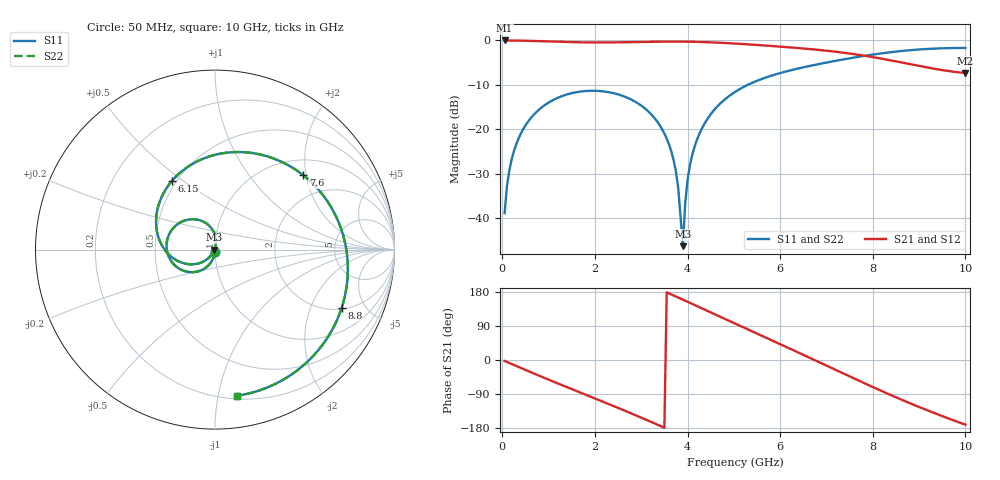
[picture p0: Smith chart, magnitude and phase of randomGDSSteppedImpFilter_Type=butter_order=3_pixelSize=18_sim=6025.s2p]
! freq	dB(S11)	phase(S11)	dB(S12)	phase(S12)
!  dB(S21)	phase(S21)	dB(S22)	phase(S22)
!S-par simulation data
#  GHz  S  DB  R 50
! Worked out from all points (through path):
!   200 points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, 50 MHz to 10 GHz, reference 50 ohm
!   highest |S21| = 0.00 dB at 50 MHz (marker M1); lowest = -7.3 dB at 10 GHz (marker M2)
!   group delay of S21, straight-line fit = 151 ps
!   lowest |S11| = -46.3 dB at 3.9 GHz (marker M3), VSWR 1.01, Z = 49.5 - j0.07 ohm
!   |S11| at or under -10 dB: start of sweep to 5.298 GHz
!   |S22| runs from -46.8 to -1.7 dB; largest |S21 - S12| = 0
!   S11 on the Smith chart (normalised r, x): 50 MHz: 1.00, -0.02; 6.15 GHz: 0.47, +0.45; 7.6 GHz: 1.36, +1.93; 8.8 GHz: 2.08, -3.39; 10 GHz: 0.22, -1.14
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0.05  -38.82 -92.4  -0.00 -2.6  -0.00 -2.6  -38.82 -92.4
0.1  -32.81 -95.2  -0.00 -5.3  -0.00 -5.3  -32.81 -95.2
0.2  -26.83 -100.5  -0.01 -10.5  -0.01 -10.5  -26.83 -100.5
0.5  -19.12 -116.4  -0.07 -26.2  -0.07 -26.2  -19.12 -116.4
1.15  -13.12 -149.9  -0.28 -59.4  -0.28 -59.4  -13.12 -149.9
1.75  -11.42 -179.8  -0.43 -89.1  -0.43 -89.1  -11.42 -179.8
2.55  -12.29 140.5  -0.42 -128.9  -0.42 -128.9  -12.29 140.5
3.4  -19.08 97.2  -0.27 -173.4  -0.27 -173.4  -19.08 97.0
3.75  -29.52 82.1  -0.26 167.5  -0.26 167.5  -29.53 81.4
3.9  -46.25 -171.6  -0.26 159.2  -0.26 159.2  -46.78 -169.6
3.95  -36.51 -127.7  -0.27 156.5  -0.27 156.5  -36.56 -126.0
4  -31.40 -124.4  -0.28 153.7  -0.28 153.7  -31.41 -123.4
4.15  -23.95 -128.6  -0.31 145.3  -0.31 145.3  -23.95 -128.2
4.5  -16.60 -146.5  -0.42 125.7  -0.42 125.7  -16.60 -146.3
5.05  -11.42 -176.7  -0.71 94.8  -0.71 94.8  -11.42 -176.5
5.55  -8.87 155.6  -1.05 66.9  -1.05 66.9  -8.87 155.7
6.15  -6.91 122.2  -1.51 33.4  -1.51 33.4  -6.91 122.3
6.7  -5.59 91.2  -1.99 2.3  -1.99 2.3  -5.59 91.3
7.6  -3.83 40.2  -3.08 -48.9  -3.08 -48.9  -3.83 40.2
8.35  -2.69 -1.1  -4.40 -90.4  -4.40 -90.4  -2.69 -1.1
8.8  -2.20 -24.6  -5.32 -114.0  -5.32 -114.0  -2.20 -24.6
10  -1.69 -81.4  -7.30 -170.6  -7.30 -170.6  -1.69 -81.4
